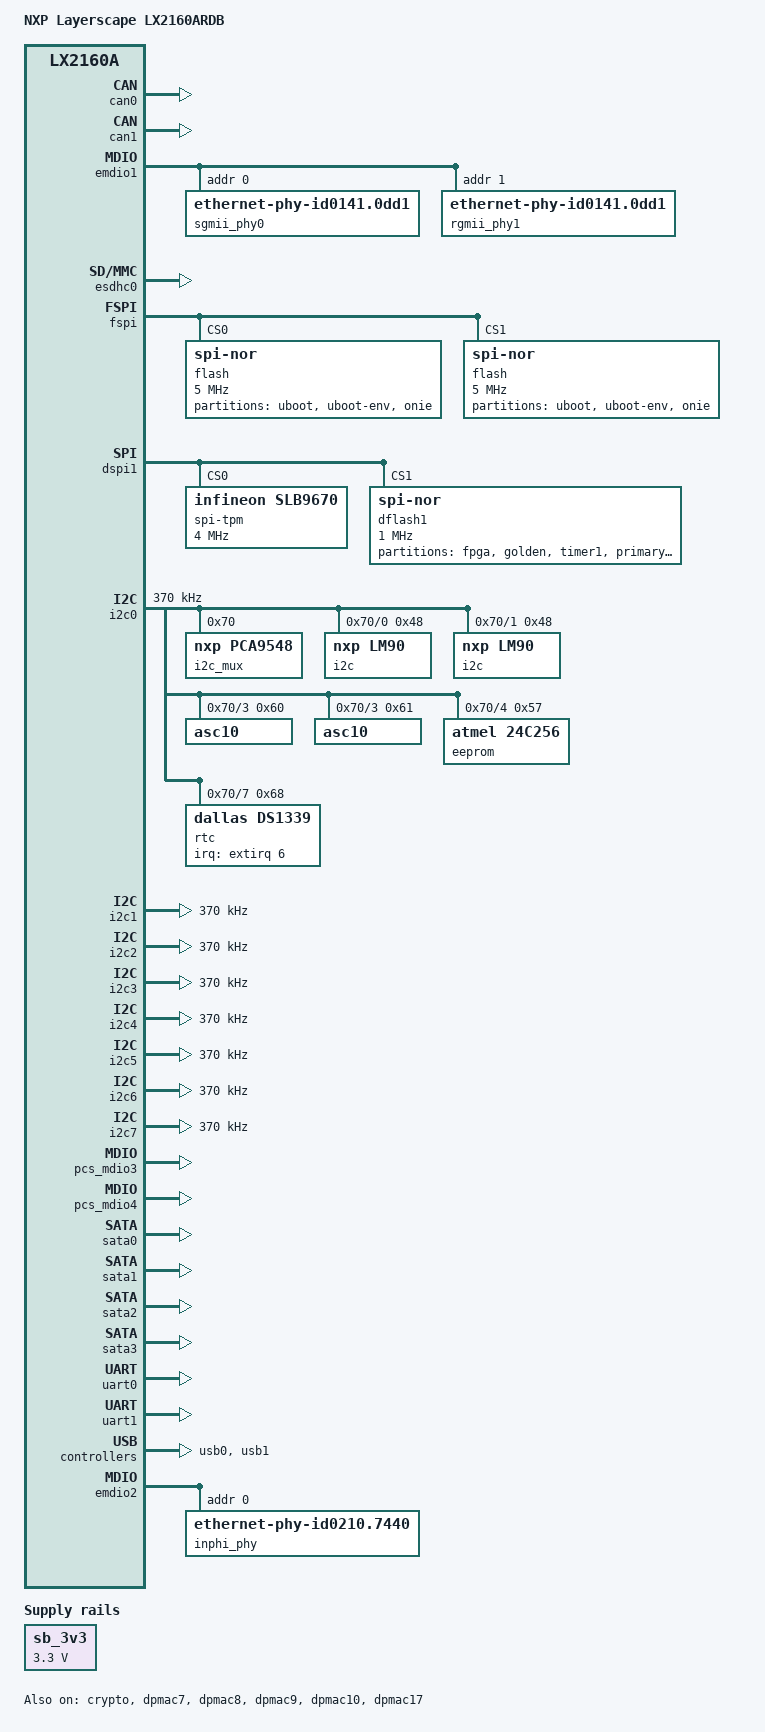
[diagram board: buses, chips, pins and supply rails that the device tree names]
// SPDX-License-Identifier: (GPL-2.0 OR MIT)
//
// Device Tree file for LX2160ARDB
//
// Copyright 2018-2020 NXP

/dts-v1/;

#include "fsl-lx2160a-as4561.dtsi"

/ {
	model = "NXP Layerscape LX2160ARDB";
	compatible = "fsl,lx2160a-rdb", "fsl,lx2160a";

	aliases {
		crypto = &crypto;
		serial0 = &uart0;
	};

	chosen {
		stdout-path = "serial0:115200n8";
	};

	sb_3v3: regulator-sb3v3 {
		compatible = "regulator-fixed";
		regulator-name = "MC34717-3.3VSB";
		regulator-min-microvolt = <3300000>;
		regulator-max-microvolt = <3300000>;
		regulator-boot-on;
		regulator-always-on;
	};

	accton_fpga: as8160_fpga {

	};
};

&can0 {
	status = "okay";

	can-transceiver {
		max-bitrate = <5000000>;
	};
};

&can1 {
	status = "okay";

	can-transceiver {
		max-bitrate = <5000000>;
	};
};

&crypto {
	status = "okay";
};

&dpmac7 {
	status = "okay";
	fixed-link = <10 1 10000 0 0>;
	phy-connection-type = "usxgmii";
};
&dpmac8 {
	status = "okay";
	fixed-link = <11 1 10000 0 0>;
	phy-connection-type = "usxgmii";
};
&dpmac9 {
	status = "okay";
	fixed-link = <12 1 10000 0 0>;
	phy-connection-type = "usxgmii";
};
&dpmac10 {
	status = "okay";
	fixed-link = <13 1 10000 0 0>;
	phy-connection-type = "usxgmii";
};
&dpmac17 {
	status = "okay";
	phy-handle = <&sgmii_phy0>;
	phy-connection-type = "rgmii-id";
};

&emdio1 {
	status = "okay";

	sgmii_phy0: ethernet-phy@0 {
		compatible = "ethernet-phy-id0141.0dd1";
		reg = <0x0>;
		eee-broken-1000t;
	};

	rgmii_phy1: ethernet-phy@1 {
		compatible = "ethernet-phy-id0141.0dd1";
		reg = <0x1>;
		eee-broken-1000t;
	};
};

&esdhc0 {
	status = "okay";
};

&esdhc1 {
	status = "disable";
};

&fspi {
	status = "okay";

	flash@0 {
		#address-cells = <1>;
		#size-cells = <1>;
		compatible = "jedec,spi-nor";
		reg = <0>;
		spi-max-frequency = <5000000>;  /* 5M */

		partition@0 {
			reg = <0x0 0x1000000>;
			label = "uboot";
		};

		partition@1 {
			reg = <0x1000000 0x100000>;
			label = "uboot-env";
		};

		partition@2 {
			reg = <0x1100000 0x2800000>;
			label = "onie";
		};
	};

	flash@1 {
		#address-cells = <1>;
		#size-cells = <1>;
		compatible = "jedec,spi-nor";
		reg = <1>;
		spi-max-frequency = <5000000>; /* 5M */

		partition@0 {
			reg = <0x0 0x1000000>;
			label = "uboot";
		};

		partition@1 {
			reg = <0x1000000 0x100000>;
			label = "uboot-env";
		};

		partition@2 {
			reg = <0x1100000 0x2800000>;
			label = "onie";
		};
	};
    /*
	mt35xu512aba0: flash@0 {
		#address-cells = <1>;
		#size-cells = <1>;
		compatible = "jedec,spi-nor";
		m25p,fast-read;
		spi-max-frequency = <5000000>;
		reg = <0>;
		spi-rx-bus-width = <8>;
		spi-tx-bus-width = <8>;
	};

	mt35xu512aba1: flash@1 {
		#address-cells = <1>;
		#size-cells = <1>;
		compatible = "jedec,spi-nor";
		m25p,fast-read;
		spi-max-frequency = <5000000>;
		reg = <1>;
		spi-rx-bus-width = <8>;
		spi-tx-bus-width = <8>;
	};
    */
};

&dspi1 {
	status = "okay";
	spi-tpm@0 {
		compatible = "infineon,slb9670";
		/*mode 0*/
		reg = <0>;
		/*spi-max-frequency = <38000000>;*/
		spi-max-frequency = <4000000>; /* 4M */
	};
	dflash1: flash@1 {
		#address-cells = <1>;
		#size-cells = <1>;
		compatible = "jedec,spi-nor";
		reg = <1>;
		spi-max-frequency = <1000000>; /* 1M */

		partition@0 {
			reg = <0x0 0x01000000>;
			label = "fpga";
		};

		partition@1 {
			reg = <0x0 0x003f0000>;
			label = "golden";
		};

		partition@2 {
			reg = <0x3f0000 0x00010000>;
			label = "timer1";
		};

		partition@3 {
			reg = <0x400000 0x00400000>;
			label = "primary";
		};

		partition@4 {
			reg = <0x800000 0x00010000>;
			label = "timer2";
		};
	};
};

&i2c0 {
	status = "okay";
        clock-frequency = <370000>;

	i2c_mux@70 {
		compatible = "nxp,pca9548";
		reg = <0x70>;
		i2c-mux-idle-disconnect;
		#address-cells = <0x1>;
		#size-cells = <0x0>;

		i2c@0 {
			#address-cells = <0x1>;
			#size-cells = <0x0>;
			reg = <0x0>;

			i2c@48 {
				compatible = "nxp,lm90";
				reg = <0x48>;
			};
		};
		i2c@1 {
			#address-cells = <0x1>;
			#size-cells = <0x0>;
			reg = <0x1>;

			i2c@48 {
				compatible = "nxp,lm90";
				reg = <0x48>;
			};
		};
		i2c@2 {
			#address-cells = <0x1>;
			#size-cells = <0x0>;
			reg = <0x2>;

		};
		i2c@3 {
			#address-cells = <0x1>;
			#size-cells = <0x0>;
			reg = <0x3>;

			asc10@60 {
				compatible = "asc10";
				reg = <0x60>;

				vmon1 { label = "VDD1P2_MAC";        vmin=<1152>;    vmax=<1248>; };
				vmon2 { label = "VDD1P8_analog";     vmin=<1746>;    vmax=<1900>; };
				vmon3 { label = "VDD0P8_analog";     vmin=<776>;     vmax=<840>;  };
				vmon4 { label = "VDD1P2";            vmin=<1164>;    vmax=<1236>; };
				vmon5 { label = "VDDK_0P8_near_end"; vmin=<784>;     vmax=<820>;  };
				vmon6 { label = "VDD1P0";            vmin=<970>;     vmax=<1040>; };
				vmon7 { label = "VDD3P3_CLK";        vmin=<3135>;    vmax=<3465>; };
				vmon8 { label = "VDDK_0P8_far_end";  vmin=<784>;     vmax=<816>;  };
				vmon9 { label = "3P3_CPU_SSD";       vmin=<3135>;    vmax=<3465>; };
				himon { label = "VCC12_CPU";         vmin=<11640>;   vmax=<12360>; };
				tmon1 { label = "QDD11,QDD13";       tmin=<(-5000)>; tmax=<75000>; };
				tmon2 { label = "-QDD8";             tmin=<(-5000)>; tmax=<75000>; };
				tmon_local { label = "-FPGA_B2B-Right"; tmin=<(-5000)>; tmax=<75000>; };
			};

			asc10@61 {
				compatible = "asc10";
				reg = <0x61>;

				vmon1 { label = "SYS_3P3";             vmin=<3135>;  vmax=<3465>; };
				vmon2 { label = "LED_3P3";             vmin=<3135>;  vmax=<3465>; };
				vmon3 { label = "CPU_SO_3P3";          vmin=<3135>;  vmax=<3465>; };
				vmon4 { label = "CPU_AUX_3P3";         vmin=<3135>;  vmax=<3465>; };
				vmon5 { label = "VSTB_3P3";            vmin=<3135>;  vmax=<3465>; };
				vmon6 { label = "QDD01_16_3P3";        vmin=<3135>;  vmax=<3465>; };
				vmon7 { label = "QDD17_32_3P3";        vmin=<3135>;  vmax=<3465>; };
				vmon8 { label = "VDD5V_STBY";          vmin=<4850>;  vmax=<5150>; };
				vmon9 { label = "VCC5V";               vmin=<4850>;  vmax=<5150>; };
				himon { label = "VCC12";               vmin=<11640>; vmax=<12360>; };
				tmon1 { label = "QDD3";                tmin=<(-5000)>; tmax=<75000>; };
				tmon2 { label = "QDD29,QDD31";         tmin=<(-5000)>; tmax=<75000>; };
				tmon_local { label = "-FPGA_B2B-Right"; tmin=<(-5000)>; tmax=<75000>; };
			};
		};
		i2c@4 {
			#address-cells = <0x1>;
			#size-cells = <0x0>;
			reg = <0x4>;

			eeprom@57 {
				compatible = "atmel,24c256";
				reg = <0x57>;
			};
		};
		i2c@5 {
			#address-cells = <0x1>;
			#size-cells = <0x0>;
			reg = <0x5>;

		};
		i2c@6 {
			#address-cells = <0x1>;
			#size-cells = <0x0>;
			reg = <0x6>;

		};
		i2c@7 {
			#address-cells = <0x1>;
			#size-cells = <0x0>;
			reg = <0x7>;

			rtc@68 {
				compatible = "dallas,ds1339";
				reg = <0x68>;
				interrupts-parent = <&extirq>;
				interrupts = <6 IRQ_TYPE_LEVEL_LOW>;
				interrupts-extended = <&extirq 6 IRQ_TYPE_LEVEL_LOW>;
			};
		};
	};
};
&i2c1 {
	status = "okay";
        clock-frequency = <370000>;
};
&i2c2 {
	status = "okay";
        clock-frequency = <370000>;
};
&i2c3 {
	status = "okay";
        clock-frequency = <370000>;
};
&i2c4 {
	status = "okay";
        clock-frequency = <370000>;
    /*
	rtc@51 {
		compatible = "nxp,pcf2129";
		reg = <0x51>;
		# IRQ_RTC_B -> IRQ08, active low 
		interrupts-extended = <&extirq 8 IRQ_TYPE_LEVEL_LOW>;
	};
    */
};
&i2c5 {
	status = "okay";
        clock-frequency = <370000>;
};
&i2c6 {
	status = "okay";
        clock-frequency = <370000>;
};
&i2c7 {
	status = "okay";
        clock-frequency = <370000>;
};

&pcs_mdio3 {
	status = "okay";
};

&pcs_mdio4 {
	status = "okay";
};

&sata0 {
	status = "okay";
};

&sata1 {
	status = "okay";
};

&sata2 {
	status = "okay";
};

&sata3 {
	status = "okay";
};

&uart0 {
	status = "okay";
};

&uart1 {
	status = "okay";
};

&usb0 {
	status = "okay";
};

&usb1 {
	status = "okay";
};

&emdio2 {
	inphi_phy: ethernet-phy@0 {
		compatible = "ethernet-phy-id0210.7440";
		reg = <0x0>;
	};
};

&dpmac5 {
	phy-handle = <&inphi_phy>;
};

&dpmac6 {
	phy-handle = <&inphi_phy>;
};
